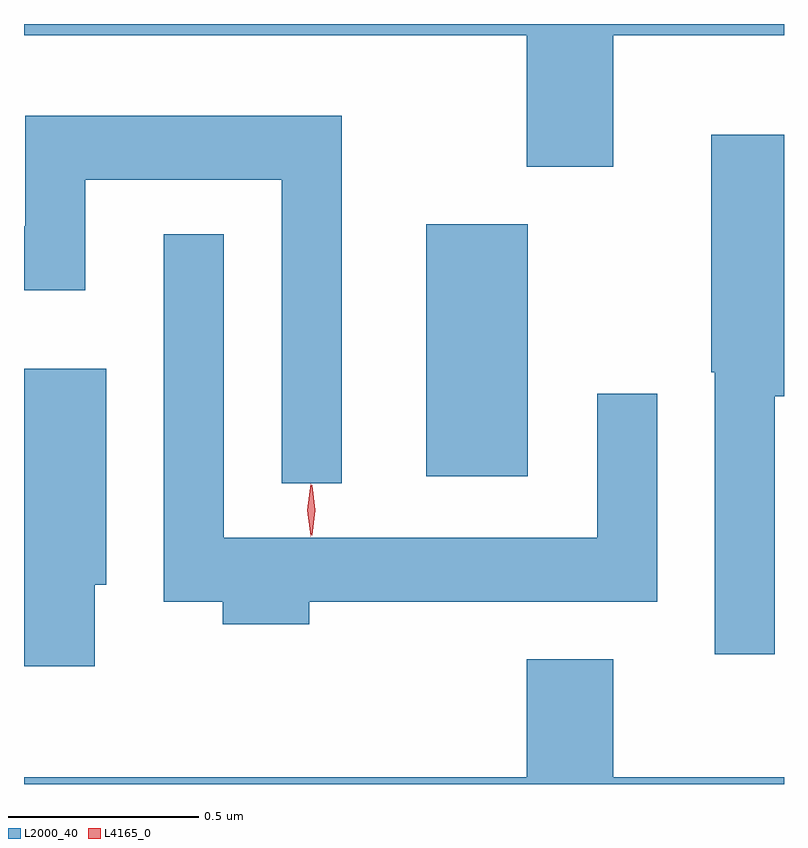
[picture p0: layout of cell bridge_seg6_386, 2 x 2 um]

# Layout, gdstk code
import gdstk
lib = gdstk.Library(unit=1e-6, precision=1e-09)
def R(c, l, rs):  # rectangles x0, y0, x1, y1
    for r in rs: c.add(gdstk.rectangle(r[:2], r[2:], *l))
def P(c, l, *ps):  # polygons
    for p in ps: c.add(gdstk.Polygon(p, *l))
L2000_40 = (2000, 40)
L4165_0 = (4165, 0)

bridge_seg6_386 = lib.new_cell('bridge_seg6_386')
R(bridge_seg6_386, L2000_40, [(1332.286,1544.436,1332.554,1545.099)])
P(bridge_seg6_386, L2000_40, [(1332.779,1545.596),(1333.228,1545.596),(1333.228,1545.626),(1331.228,1545.626),(1331.228,1545.596),(1332.551,1545.596),(1332.551,1545.251),(1332.779,1545.251)],
  [(1332.064,1545.384),(1331.231,1545.384),(1331.231,1545.094),(1331.228,1545.094),(1331.228,1544.926),(1331.389,1544.926),(1331.389,1545.216),(1331.906,1545.216),(1331.906,1544.418),(1332.064,1544.418)],
  [(1333.204,1544.646),(1333.228,1544.646),(1333.228,1545.334),(1333.036,1545.334),(1333.036,1544.71),(1333.046,1544.71),(1333.046,1543.968),(1333.204,1543.968)],
  [(1331.979,1544.106),(1332.894,1544.106),(1332.894,1544.653),(1332.736,1544.653),(1332.736,1544.274),(1331.754,1544.274),(1331.754,1545.073),(1331.596,1545.073),(1331.596,1544.106),(1331.751,1544.106),(1331.751,1544.046),(1331.979,1544.046)],
  [(1331.414,1544.151),(1331.444,1544.151),(1331.444,1544.719),(1331.228,1544.719),(1331.228,1543.936),(1331.414,1543.936)],
  [(1333.228,1543.644),(1332.779,1543.644),(1332.779,1543.954),(1332.551,1543.954),(1332.551,1543.644),(1331.228,1543.644),(1331.228,1543.626),(1333.228,1543.626)])
P(bridge_seg6_386, L4165_0, [(1331.983,1544.277),(1331.982,1544.278),(1331.973,1544.347),(1331.982,1544.416),(1331.983,1544.416),(1331.983,1544.416),(1331.993,1544.347),(1331.983,1544.278)],
  [(1331.985,1544.28),(1331.976,1544.346),(1331.985,1544.412),(1331.985,1544.413),(1331.986,1544.412),(1331.995,1544.346),(1331.986,1544.28),(1331.986,1544.28)])

lib.write_gds('bridge_seg6_386.gds')
